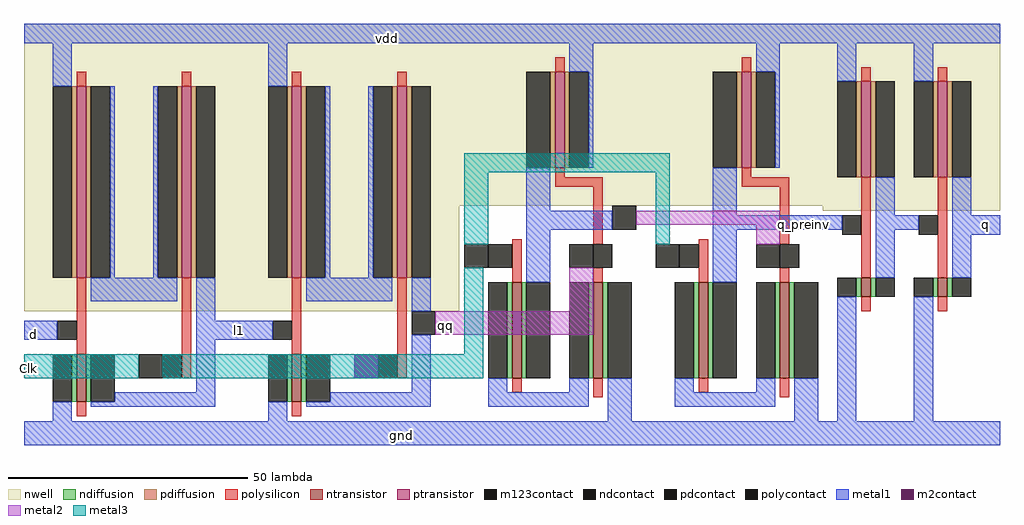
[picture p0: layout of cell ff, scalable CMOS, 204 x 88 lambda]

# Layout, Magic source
magic
tech scmos
<< nwell >>
rect 0 50 204 88
rect 0 28 91 50
rect 167 49 204 50
<< ntransistor >>
rect 11 9 13 19
rect 56 9 58 19
rect 102 14 104 34
rect 119 14 121 34
rect 141 14 143 34
rect 158 14 160 34
rect 175 31 177 35
rect 191 31 193 35
<< ptransistor >>
rect 11 35 13 75
rect 33 35 35 75
rect 56 35 58 75
rect 78 35 80 75
rect 111 58 113 78
rect 150 58 152 78
rect 175 56 177 76
rect 191 56 193 76
<< ndiffusion >>
rect 10 9 11 19
rect 13 9 14 19
rect 55 9 56 19
rect 58 9 59 19
rect 101 14 102 34
rect 104 14 105 34
rect 118 14 119 34
rect 121 14 122 34
rect 140 14 141 34
rect 143 14 144 34
rect 157 14 158 34
rect 160 14 161 34
rect 174 31 175 35
rect 177 31 178 35
rect 190 31 191 35
rect 193 31 194 35
<< pdiffusion >>
rect 10 35 11 75
rect 13 35 14 75
rect 32 35 33 75
rect 35 35 36 75
rect 55 35 56 75
rect 58 35 59 75
rect 77 35 78 75
rect 80 35 81 75
rect 110 58 111 78
rect 113 58 114 78
rect 149 58 150 78
rect 152 58 153 78
rect 174 56 175 76
rect 177 56 178 76
rect 190 56 191 76
rect 193 56 194 76
<< ndcontact >>
rect 6 9 10 19
rect 14 9 19 19
rect 51 9 55 19
rect 59 9 64 19
rect 97 14 101 34
rect 105 14 110 34
rect 114 14 118 34
rect 122 14 127 34
rect 136 14 140 34
rect 144 14 149 34
rect 153 14 157 34
rect 161 14 166 34
rect 170 31 174 35
rect 178 31 182 35
rect 186 31 190 35
rect 194 31 198 35
<< pdcontact >>
rect 6 35 10 75
rect 14 35 18 75
rect 28 35 32 75
rect 36 35 40 75
rect 51 35 55 75
rect 59 35 63 75
rect 73 35 77 75
rect 81 35 85 75
rect 105 58 110 78
rect 114 58 118 78
rect 144 58 149 78
rect 153 58 157 78
rect 170 56 174 76
rect 178 56 182 76
rect 186 56 190 76
rect 194 56 198 76
<< polysilicon >>
rect 111 78 113 81
rect 150 78 152 81
rect 11 75 13 78
rect 33 75 35 78
rect 56 75 58 78
rect 78 75 80 78
rect 175 76 177 79
rect 191 76 193 79
rect 111 56 113 58
rect 150 56 152 58
rect 111 54 121 56
rect 150 54 160 56
rect 11 19 13 35
rect 33 14 35 35
rect 56 19 58 35
rect 78 14 80 35
rect 102 34 104 43
rect 119 42 121 54
rect 119 34 121 37
rect 141 34 143 43
rect 158 42 160 54
rect 158 34 160 37
rect 175 35 177 56
rect 191 35 193 56
rect 175 28 177 31
rect 191 28 193 31
rect 102 11 104 14
rect 119 10 121 14
rect 141 11 143 14
rect 158 10 160 14
rect 11 6 13 9
rect 56 6 58 9
<< polycontact >>
rect 97 37 102 42
rect 7 22 11 26
rect 29 14 33 19
rect 52 22 56 26
rect 74 14 78 19
rect 119 37 123 42
rect 137 37 141 42
rect 171 44 175 48
rect 158 37 162 42
rect 187 44 191 48
<< metal1 >>
rect 0 84 204 88
rect 6 75 10 84
rect 51 75 55 84
rect 114 78 119 84
rect 153 78 158 84
rect 18 35 19 75
rect 27 35 28 75
rect 14 30 32 35
rect 63 35 64 75
rect 72 35 73 75
rect 36 26 40 35
rect 59 30 77 35
rect 118 58 119 78
rect 157 58 158 78
rect 170 76 174 84
rect 186 76 190 84
rect 105 49 110 58
rect 105 45 123 49
rect 144 48 149 58
rect 178 48 182 56
rect 194 48 198 56
rect 144 45 171 48
rect 81 28 85 35
rect 105 34 110 45
rect 144 34 149 45
rect 178 45 187 48
rect 178 35 182 45
rect 194 44 204 48
rect 194 35 198 44
rect 0 22 7 26
rect 36 22 52 26
rect 6 5 10 9
rect 36 11 40 22
rect 19 9 40 11
rect 14 8 40 9
rect 51 5 55 9
rect 81 11 85 23
rect 64 9 85 11
rect 59 8 85 9
rect 97 11 101 14
rect 114 11 118 14
rect 97 8 118 11
rect 122 5 127 14
rect 136 11 140 14
rect 153 11 157 14
rect 136 8 157 11
rect 161 5 166 14
rect 170 5 174 31
rect 186 5 190 31
rect 0 0 204 5
<< m2contact >>
rect 69 14 74 19
<< metal2 >>
rect 128 46 158 49
rect 153 42 158 46
rect 114 28 119 37
rect 86 23 119 28
<< m123contact >>
rect 123 45 128 50
rect 92 37 97 42
rect 114 37 119 42
rect 132 37 137 42
rect 153 37 158 42
rect 81 23 86 28
rect 24 14 29 19
<< metal3 >>
rect 92 57 135 61
rect 92 42 97 57
rect 132 42 135 57
rect 92 19 96 37
rect 0 14 24 19
rect 29 14 96 19
<< labels >>
rlabel metal1 2 23 2 23 3 d
rlabel metal3 1 16 1 16 3 Clk
rlabel metal2 88 25 88 25 1 qq
rlabel metal1 79 2 79 2 1 gnd
rlabel metal1 76 85 76 85 5 vdd
rlabel metal1 45 24 45 24 1 l1
rlabel metal1 163 46 163 46 1 q_preinv
rlabel metal1 201 46 201 46 7 q
<< end >>
